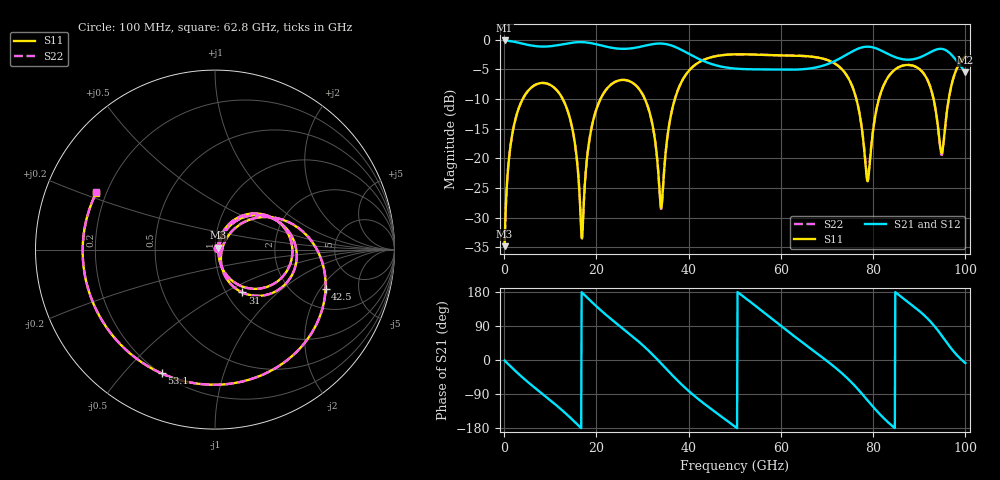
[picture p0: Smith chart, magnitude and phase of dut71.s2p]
! Touchstone file exported from HFSS 2026.1.0
!  File:  C:/ffzhzh/LocalFiles/Ansys_Project_Files/temp_train_TSV_RDL_71_1783627058_29156.aedt
!  Generated:  04:05:26 AM Jul 10, 2026
!  Design:  TSV_RDL
!  Project:  temp_train_TSV_RDL_71_1783627058_29156
! Variables:
!  h_bsmrdl = 4.58um
!  h_ox = 20um
!  h_rdl = 5um
!  h_sub = 69.48um
!  h_tmrdl = 3.02um
!  h_tsv = 69.48um
!  h_via = 3um
!  l_bsmrdl = 620.83um
!  l_sub = 3550.02um
!  l_tmrdl = 287.9um
!  m_sub = 200um
!  pitch = 44.48um
!  r_tsv = 13.56um
!  s_tmrdl = 10um
!  w_bsmrdl = 15.93um
!  w_sub = 500um
!  w_tmrdl = 29.38um
!  x_tsv_center1 = 302.59um
!  x_tsv_center2 = 939.35um
!  x_tsv_center3 = 1256.63um
!  x_tsv_center4 = 1893.39um
!  x_tsv_center5 = 2210.67um
!  x_tsv_center6 = 2847.43um
# GHz S MA R 50.000000
! Terminal data exported
! Port[1] = TM_RDL1_1_T1
! Port[2] = TM_RDL5_1_T1
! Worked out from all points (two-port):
!   1000 points, 100 MHz to 100 GHz, reference 50 ohm
!   highest |S21| = -0.13 dB at 100 MHz (marker M1); lowest = -5.5 dB at 100 GHz (marker M2)
!   |S21| within 3 dB of the highest: start of sweep to 41.9 GHz; 72.87 GHz to 85.5 GHz (12.63 GHz wide, 15.9 % of centre) (the widest 2 of 3)
!   lowest |S11| = -34.8 dB at 100 MHz (marker M3), VSWR 1.04, Z = 51.5 + j1.05 ohm
!   |S11| at or under -10 dB: 12.7 GHz to 20.89 GHz (8.195 GHz wide, 48.8 % of centre); 30.51 GHz to 37.02 GHz (6.51 GHz wide, 19.3 % of centre); 76.36 GHz to 81.26 GHz (4.905 GHz wide, 6.22 % of centre) (the widest 3 of 5)
!   |S22| runs from -34.8 to -2.5 dB; largest |S21 - S12| = 6.8e-14
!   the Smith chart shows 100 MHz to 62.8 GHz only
!   S11 on the Smith chart (normalised r, x): 100 MHz: 1.03, +0.02; 31 GHz: 1.19, -0.62; 42.5 GHz: 2.93, -2.24; 53.1 GHz: 0.20, -0.64; 62.8 GHz: 0.16, +0.22
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0.1  0.01813 34.1  0.9852 -1.3  0.9852 -1.3  0.01813 34.1
! Gamma 0 0 0 0
! Port Impedance 50 0 50 0
2.4  0.2098 55.6  0.9563 -28.5  0.9563 -28.5  0.2098 55.7
7.9  0.4303 1.9  0.8757 -85.6  0.8757 -85.6  0.4302 1.9
13.9  0.2423 -55.5  0.9329 -147.2  0.9329 -147.2  0.2424 -55.3
16.8  0.02128 -17.0  0.9537 179.0  0.9537 179.0  0.02183 -16.7
21.4  0.3444 32.3  0.8867 126.4  0.8867 126.4  0.3444 32.3
31  0.2831 -57.5  0.898 28.3  0.898 28.3  0.2829 -57.6
33.4  0.07809 -64.3  0.9275 -0.9  0.9275 -0.9  0.07761 -64.8
34.2  0.04145 10.1  0.9271 -11.1  0.9271 -11.1  0.04059 10.7
37.7  0.3785 27.9  0.8479 -55.5  0.8479 -55.5  0.3785 28.1
42.5  0.6537 -19.6  0.6798 -107.1  0.6798 -107.1  0.6537 -19.5
50.1  0.7525 -86.3  0.5706 -176.3  0.5706 -176.3  0.7525 -86.3
53.1  0.7512 -113.4  0.5631 156.1  0.5631 156.1  0.7511 -113.5
62.8  0.7339 154.5  0.5592 63.7  0.5592 63.7  0.7339 154.3
66.7  0.7191 118.9  0.5747 27.8  0.5747 27.8  0.7191 118.7
73.7  0.5368 54.2  0.727 -40.1  0.727 -40.1  0.537 54.3
78.8  0.06385 74.1  0.8732 -106.7  0.8732 -106.7  0.06868 73.9
83.4  0.4929 98.9  0.7522 -166.2  0.7522 -166.2  0.4934 98.3
89.9  0.5704 43.4  0.7042 130.5  0.7042 130.5  0.5704 43.0
93.6  0.2483 16.4  0.8235 84.7  0.8235 84.7  0.2472 15.5
94.9  0.1103 65.2  0.8364 63.8  0.8364 63.8  0.1067 65.0
100  0.729 74.8  0.5313 -8.2  0.5313 -8.2  0.7286 74.9
